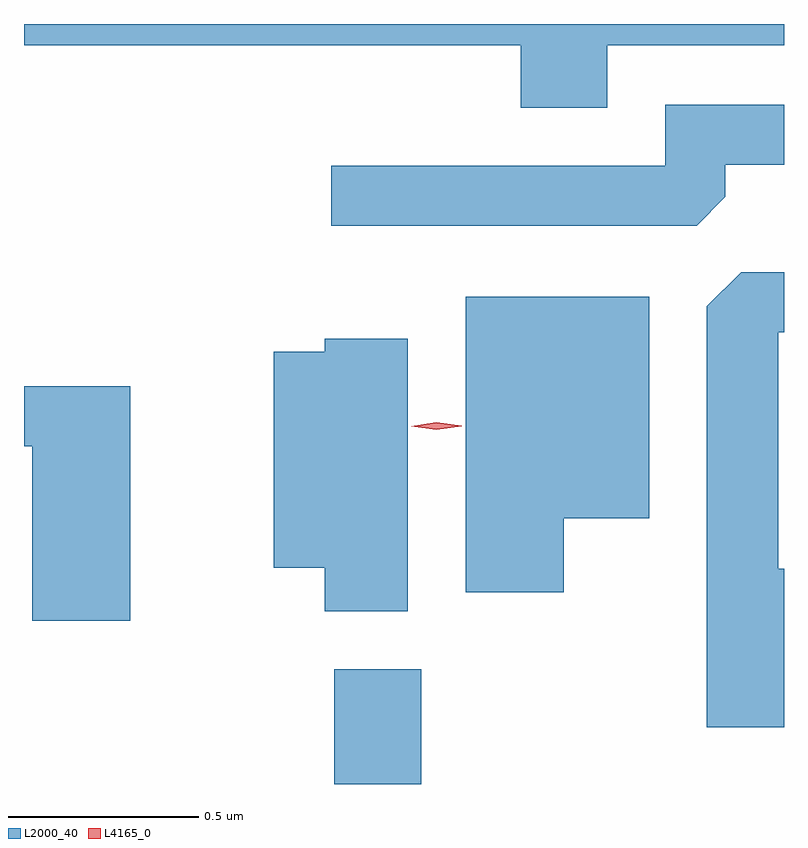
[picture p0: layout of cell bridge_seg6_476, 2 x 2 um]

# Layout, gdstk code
import gdstk
lib = gdstk.Library(unit=1e-6, precision=1e-09)
def R(c, l, rs):  # rectangles x0, y0, x1, y1
    for r in rs: c.add(gdstk.rectangle(r[:2], r[2:], *l))
def P(c, l, *ps):  # polygons
    for p in ps: c.add(gdstk.Polygon(p, *l))
L2000_40 = (2000, 40)
L4165_0 = (4165, 0)

bridge_seg6_476 = lib.new_cell('bridge_seg6_476')
R(bridge_seg6_476, L2000_40, [(629.721,1652.432,629.949,1652.734)])
P(bridge_seg6_476, L2000_40, [(630.439,1654.376),(630.904,1654.376),(630.904,1654.432),(628.904,1654.432),(628.904,1654.376),(630.211,1654.376),(630.211,1654.211),(630.439,1654.211)],
  [(630.749,1653.977),(630.749,1654.061),(630.904,1654.061),(630.904,1654.219),(630.591,1654.219),(630.591,1654.059),(629.713,1654.059),(629.713,1653.901),(630.674,1653.901)],
  [(630.904,1652.999),(630.889,1652.999),(630.889,1653.621),(630.904,1653.621),(630.904,1653.779),(630.792,1653.779),(630.701,1653.689),(630.701,1652.581),(630.904,1652.581)],
  [(630.324,1653.131),(630.549,1653.131),(630.549,1653.714),(630.066,1653.714),(630.066,1652.936),(630.324,1652.936)],
  [(629.914,1653.604),(629.696,1653.604),(629.696,1653.569),(629.561,1653.569),(629.561,1653.001),(629.696,1653.001),(629.696,1652.886),(629.914,1652.886)],
  [(629.184,1653.479),(628.904,1653.479),(628.904,1653.321),(628.926,1653.321),(628.926,1652.861),(629.184,1652.861)])
P(bridge_seg6_476, L4165_0, [(629.989,1653.364),(629.923,1653.373),(629.922,1653.374),(629.923,1653.374),(629.989,1653.384),(630.056,1653.375),(630.056,1653.374),(630.056,1653.374)])

lib.write_gds('bridge_seg6_476.gds')
